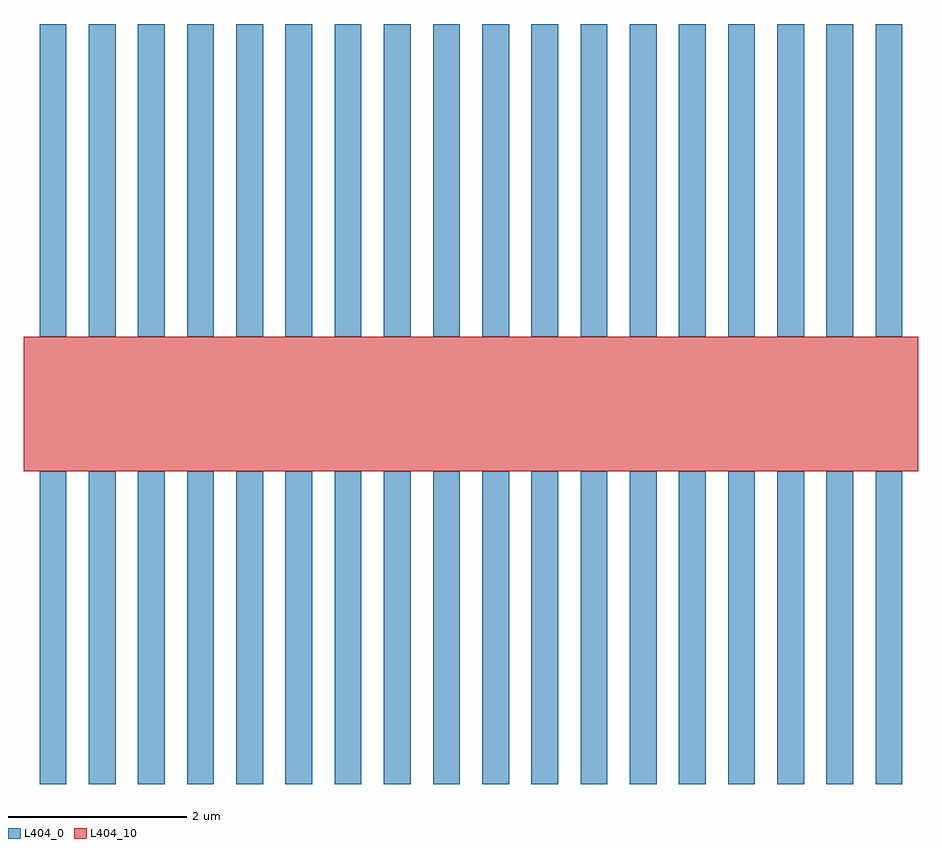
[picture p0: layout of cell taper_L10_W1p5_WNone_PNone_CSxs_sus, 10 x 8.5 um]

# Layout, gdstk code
import gdstk
lib = gdstk.Library(unit=1e-6, precision=1e-09)
def R(c, l, rs):  # rectangles x0, y0, x1, y1
    for r in rs: c.add(gdstk.rectangle(r[:2], r[2:], *l))
def A(c, l, x, y, w, h, nx, ny, dx, dy):  # array of equal rectangles
    R(c, l, [(x+i*dx, y+j*dy, x+i*dx+w, y+j*dy+h) for i in range(nx) for j in range(ny)])
L404_0 = (404, 0)
L404_10 = (404, 10)

taper_l10_w1p5_wnone_pno = lib.new_cell('taper_L10_W1p5_WNone_PNone_CSxs_sus')
A(taper_l10_w1p5_wnone_pno, L404_0, 0.175, -4.25, 0.3, 3.5, 18, 2, 0.55, 5)
R(taper_l10_w1p5_wnone_pno, L404_10, [(0,-0.75,10,0.75)])

lib.write_gds('taper_L10_W1p5_WNone_PNone_CSxs_sus.gds')
